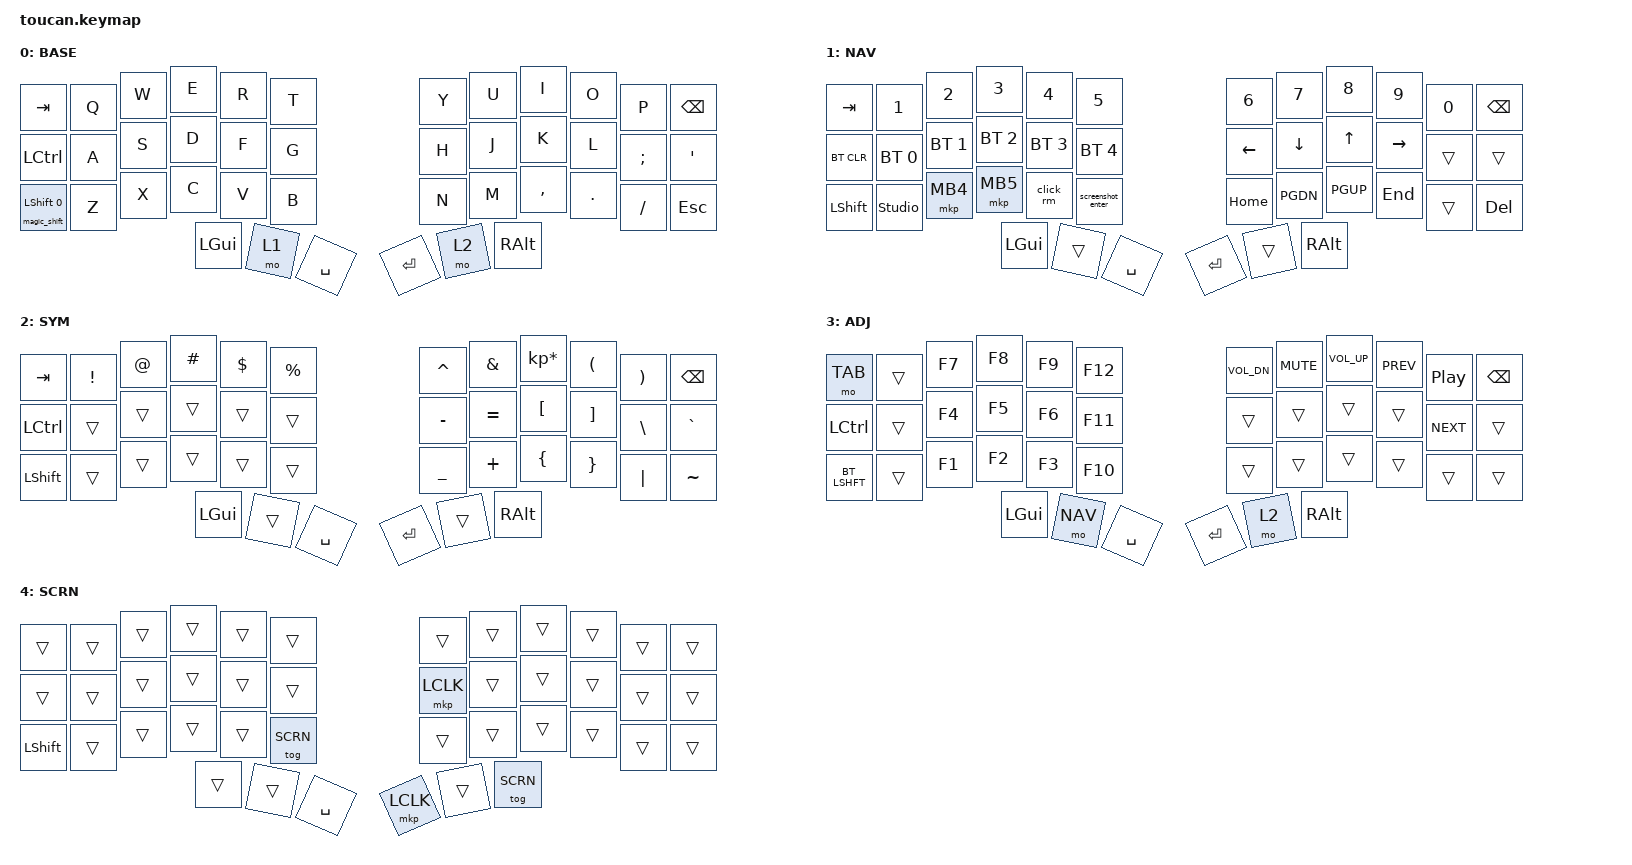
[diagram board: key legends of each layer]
#include <behaviors.dtsi>
#include <dt-bindings/zmk/keys.h>
#include <dt-bindings/zmk/bt.h>
#include <dt-bindings/zmk/outputs.h>
#include <dt-bindings/zmk/pointing.h>

#include <zmk-helpers/helper.h>

#define BASE 0
#define NAV  1
#define SYM  2
#define ADJ  3
#define SCRN 4
#define QUICK_TAP_MS 175

/* Magic-shift & auto-layers */

// Tap: repeat after alpha, else sticky-shift |
// Shift + tap/ double-tap: caps-word | Hold: shift.
#define MAGIC_SHIFT &magic_shift LSHFT 0
ZMK_HOLD_TAP(magic_shift, bindings = <&kp>, <&magic_shift_tap>;
             flavor = "balanced"; tapping-term-ms = <200>;
             quick-tap-ms = <QUICK_TAP_MS>;)
ZMK_MOD_MORPH(magic_shift_tap, bindings = <&shift_repeat>, <&caps_word>;
              mods = <(MOD_LSFT)>;)
ZMK_ADAPTIVE_KEY(
    shift_repeat, bindings = <&sk LSHFT>;
    repeat {
      trigger-keys = <A B C D E F G H I J K L M N O P Q R S T U V W X Y Z>;
      bindings = <&key_repeat>;
      max-prior-idle-ms = <1200>;
      strict-modifiers;
    };)
&caps_word { // Mods deactivate caps-word, requires PR #1451. [TODO: rebase]
  /delete-property/ ignore-modifiers;
};

&sk {
  release-after-ms = <900>;
  quick-release;
};

// Screenshot: triggers LGUI+LSHFT+S then activates screenshot layer
ZMK_MACRO(screenshot_enter,
    wait-ms = <30>;
    tap-ms = <30>;
    bindings = <&kp LG(LS(S))>, <&tog SCRN>;
)

// Tap-dance: single tap = right click, double tap = middle click
ZMK_TAP_DANCE(click_rm,
    tapping-term-ms = <200>;
    bindings = <&mkp RCLK>, <&mkp MCLK>;
)


/ {
    conditional_layers {
        compatible = "zmk,conditional-layers";
        tri_layer {
            if-layers = <1 2>;
            then-layer = <3>;
        };
    };

    keymap {
        compatible = "zmk,keymap";

        base {
            display-name = "BASE";
            bindings = <
                &kp TAB   &kp Q &kp W &kp E &kp R &kp T   &kp Y &kp U  &kp I     &kp O   &kp P    &kp BSPC
                &kp LCTRL &kp A &kp S &kp D &kp F &kp G   &kp H &kp J  &kp K     &kp L   &kp SEMI &kp SQT
                MAGIC_SHIFT &kp Z &kp X &kp C &kp V &kp B   &kp N &kp M  &kp COMMA &kp DOT &kp FSLH &kp ESC
                                &kp LGUI &mo 1 &kp SPACE   &kp RET &mo 2 &kp RALT
            >;
        };

        nav {
            display-name = "NAV";
            bindings = <
                &kp TAB     &kp N1          &kp N2       &kp N3       &kp N4       &kp N5         &kp N6   &kp N7   &kp N8   &kp N9    &kp N0 &kp BSPC
                &bt BT_CLR  &bt BT_SEL 0    &bt BT_SEL 1 &bt BT_SEL 2 &bt BT_SEL 3 &bt BT_SEL 4   &kp LEFT &kp DOWN &kp UP   &kp RIGHT &trans &trans
                &kp LSHFT   &studio_unlock  &mkp MB4     &mkp MB5     &click_rm    &screenshot_enter &kp HOME &kp PGDN &kp PGUP &kp END   &trans &kp DEL
                                                &kp LGUI     &trans       &kp SPACE      &kp RET  &trans   &kp RALT
            >;
        };

        sym {
            display-name = "SYM";
            bindings = <
                &kp TAB   &kp EXCL &kp AT &kp HASH &kp DLLR &kp PRCNT   &kp CARET &kp AMPS  &kp KP_MULTIPLY &kp LPAR &kp RPAR &kp BSPC
                &kp LCTRL &trans   &trans &trans   &trans   &trans      &kp MINUS &kp EQUAL &kp LBKT        &kp RBKT &kp BSLH &kp GRAVE
                &kp LSHFT &trans   &trans &trans   &trans   &trans      &kp UNDER &kp PLUS  &kp LBRC        &kp RBRC &kp PIPE &kp TILDE
                                          &kp LGUI &trans   &kp SPACE   &kp RET   &trans    &kp RALT
            >;
        };

        adj {
            display-name = "ADJ";
            bindings = <
                &mo TAB   &trans &kp F7 &kp F8 &kp F9 &kp F12   &kp C_VOL_DN &kp C_MUTE  &kp C_VOL_UP &kp C_PREV &kp C_PP   &kp BSPC
                &kp LCTRL &trans &kp F4 &kp F5 &kp F6 &kp F11   &trans       &trans      &trans       &trans     &kp C_NEXT &trans
                &bt LSHFT &trans &kp F1 &kp F2 &kp F3 &kp F10   &trans       &trans      &trans       &trans     &trans     &trans
                                   &kp LGUI &mo NAV &kp SPACE   &kp RET &mo 2 &kp RALT
            >;
        };
        screenshot {
            display-name = "SCRN";
            bindings = <
                &trans     &trans &trans &trans &trans &trans   &trans    &trans &trans &trans &trans &trans
                &trans     &trans &trans &trans &trans &trans   &mkp LCLK &trans &trans &trans &trans &trans
                &kp LSHFT  &trans &trans &trans &trans &tog SCRN   &trans    &trans &trans &trans &trans &trans
                                    &trans &trans &kp SPACE   &mkp LCLK &trans &tog SCRN
            >;
        };

        extra_2 {
                status = "reserved";
        };

        extra_3 {
                status = "reserved";
        };
    };
};
